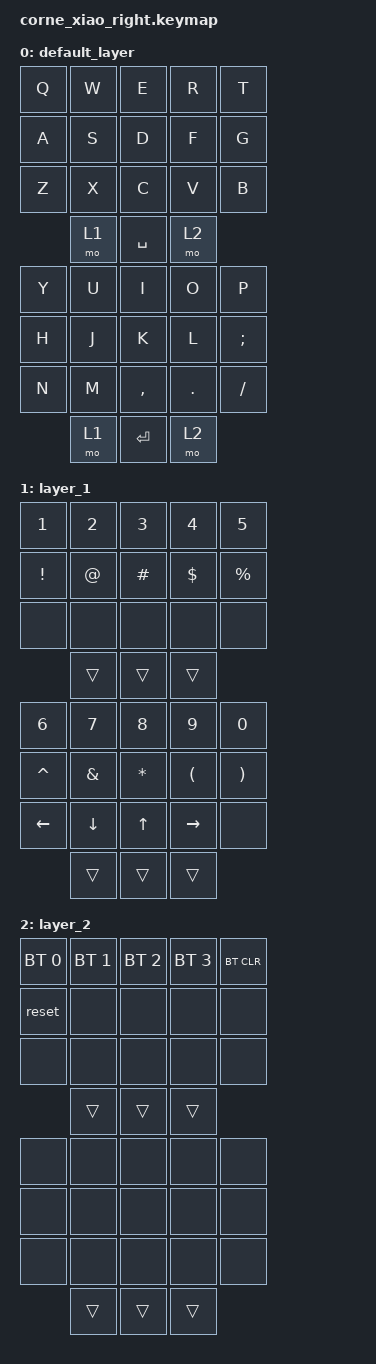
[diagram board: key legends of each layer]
/ {
    keymap {
        compatible = "zmk,keymap";
        default_layer {
            bindings = < &kp Q &kp W &kp E &kp R &kp T
                         &kp A &kp S &kp D &kp F &kp G
                         &kp Z &kp X &kp C &kp V &kp B
                         &mo 1 &kp SPACE &mo 2 >,
                       < &kp Y &kp U &kp I &kp O &kp P
                         &kp H &kp J &kp K &kp L &kp SEMI
                         &kp N &kp M &kp COMMA &kp DOT &kp SLASH
                         &mo 1 &kp ENTER &mo 2 >;
        };
        layer_1 {
            bindings = < &kp 1 &kp 2 &kp 3 &kp 4 &kp 5
                         &kp EXCL &kp AT &kp HASH &kp DLLR &kp PERCENT
                         &none &none &none &none &none
                         &trans &trans &trans >,
                       < &kp 6 &kp 7 &kp 8 &kp 9 &kp 0
                         &kp CARET &kp AMPS &kp ASTRK &kp LPAR &kp RPAR
                         &kp LEFT &kp DOWN &kp UP &kp RIGHT &none
                         &trans &trans &trans >;
        };
        layer_2 {
            bindings = < &bt BT_SEL 0 &bt BT_SEL 1 &bt BT_SEL 2 &bt BT_SEL 3 &bt BT_CLR
                         &reset &none &none &none &none
                         &none &none &none &none &none
                         &trans &trans &trans >,
                       < &none &none &none &none &none
                         &none &none &none &none &none
                         &none &none &none &none &none
                         &trans &trans &trans >;
        };
    };
};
